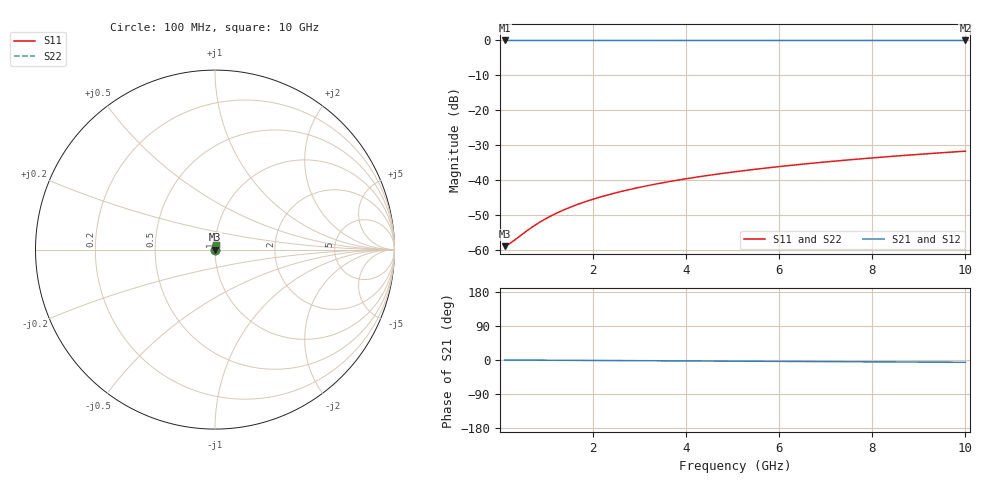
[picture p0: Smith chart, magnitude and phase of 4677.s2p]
# Hz S RI R 50.00
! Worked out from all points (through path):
!   100 points, 100 MHz to 10 GHz, reference 50 ohm
!   highest |S21| = -0.01 dB at 100 MHz (marker M1); lowest = 0.0 dB at 10 GHz (marker M2)
!   lowest |S11| = -59.0 dB at 100 MHz (marker M3), VSWR 1.00, Z = 50.1 + j0.0258 ohm
!   |S11| at or under -10 dB: start of sweep to end of sweep
!   |S22| runs from -59.0 to -31.7 dB; largest |S21 - S12| = 0
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1e8  0.0011 0.000258  0.9989 -0.00105  0.9989 -0.00105  0.0011 0.000258
2e8  0.0011 0.000515  0.9989 -0.0021  0.9989 -0.0021  0.0011 0.000515
3e8  0.00111 0.000773  0.9989 -0.00316  0.9989 -0.00316  0.00111 0.000773
5e8  0.00112 0.00129  0.9989 -0.00526  0.9989 -0.00526  0.00112 0.00129
7e8  0.00113 0.0018  0.9988 -0.00736  0.9988 -0.00736  0.00113 0.0018
8e8  0.00114 0.00206  0.9988 -0.00841  0.9988 -0.00841  0.00114 0.00206
1e9  0.00115 0.00258  0.9988 -0.0105  0.9988 -0.0105  0.00115 0.00258
1.2e9  0.00117 0.00309  0.9988 -0.0126  0.9988 -0.0126  0.00117 0.00309
1.4e9  0.00119 0.00361  0.9987 -0.0147  0.9987 -0.0147  0.00119 0.00361
1.6e9  0.00121 0.00412  0.9987 -0.0168  0.9987 -0.0168  0.00121 0.00412
1.8e9  0.00123 0.00464  0.9987 -0.0189  0.9987 -0.0189  0.00123 0.00464
2.1e9  0.00126 0.00541  0.9986 -0.0221  0.9986 -0.0221  0.00126 0.00541
2.5e9  0.00132 0.00644  0.9985 -0.0263  0.9985 -0.0263  0.00132 0.00644
2.9e9  0.00138 0.00747  0.9983 -0.0305  0.9983 -0.0305  0.00138 0.00747
3.4e9  0.00147 0.00875  0.9981 -0.0358  0.9981 -0.0358  0.00147 0.00875
4.2e9  0.00164 0.0108  0.9978 -0.0442  0.9978 -0.0442  0.00164 0.0108
5.1e9  0.00188 0.0131  0.9973 -0.0536  0.9973 -0.0536  0.00188 0.0131
5.9e9  0.00212 0.0152  0.9967 -0.0621  0.9967 -0.0621  0.00212 0.0152
6.7e9  0.0024 0.0172  0.9961 -0.0705  0.9961 -0.0705  0.0024 0.0172
7.5e9  0.00272 0.0192  0.9954 -0.0789  0.9954 -0.0789  0.00272 0.0192
8.4e9  0.00311 0.0215  0.9946 -0.0883  0.9946 -0.0883  0.00311 0.0215
1e10  0.00392 0.0256  0.9928 -0.1052  0.9928 -0.1052  0.00392 0.0256
